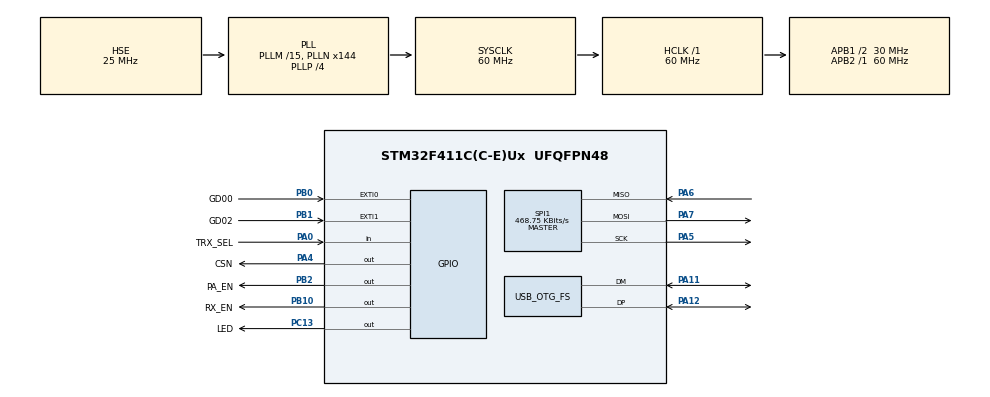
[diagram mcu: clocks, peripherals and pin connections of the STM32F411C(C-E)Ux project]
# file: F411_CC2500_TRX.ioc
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Dma.Request0=SPI1_RX
Dma.Request1=SPI1_TX
Dma.SPI1_RX.0.Direction=DMA_PERIPH_TO_MEMORY
Dma.SPI1_RX.0.FIFOMode=DMA_FIFOMODE_DISABLE
Dma.SPI1_RX.0.Instance=DMA2_Stream0
Dma.SPI1_RX.0.MemDataAlignment=DMA_MDATAALIGN_BYTE
Dma.SPI1_RX.0.MemInc=DMA_MINC_ENABLE
Dma.SPI1_RX.0.Mode=DMA_NORMAL
Dma.SPI1_RX.0.PeriphDataAlignment=DMA_PDATAALIGN_BYTE
Dma.SPI1_RX.0.PeriphInc=DMA_PINC_DISABLE
Dma.SPI1_RX.0.Priority=DMA_PRIORITY_LOW
Dma.SPI1_TX.1.Direction=DMA_MEMORY_TO_PERIPH
Dma.SPI1_TX.1.FIFOMode=DMA_FIFOMODE_DISABLE
Dma.SPI1_TX.1.Instance=DMA2_Stream2
Dma.SPI1_TX.1.MemDataAlignment=DMA_MDATAALIGN_BYTE
Dma.SPI1_TX.1.MemInc=DMA_MINC_ENABLE
Dma.SPI1_TX.1.Mode=DMA_NORMAL
Dma.SPI1_TX.1.PeriphDataAlignment=DMA_PDATAALIGN_BYTE
Dma.SPI1_TX.1.PeriphInc=DMA_PINC_DISABLE
Dma.SPI1_TX.1.Priority=DMA_PRIORITY_LOW
Mcu.Family=STM32F4
Mcu.Name=STM32F411C(C-E)Ux
Mcu.Package=UFQFPN48
NVIC.DMA2_Stream0_IRQn=true\:0\:0\:false\:false\:true\:false\:true\:true
NVIC.DMA2_Stream2_IRQn=true\:0\:0\:false\:false\:true\:false\:true\:true
NVIC.OTG_FS_IRQn=true\:0\:0\:false\:false\:true\:false\:true\:true
NVIC.PriorityGroup=NVIC_PRIORITYGROUP_4
NVIC.SPI1_IRQn=true\:0\:0\:false\:false\:true\:true\:true\:true
PA0-WKUP.GPIO_Label=TRX_SEL
PA0-WKUP.Signal=GPIO_Input
PA11.Mode=Device_Only
PA11.Signal=USB_OTG_FS_DM
PA12.Mode=Device_Only
PA12.Signal=USB_OTG_FS_DP
PA4.GPIO_Label=CSN
PA4.GPIO_Speed=GPIO_SPEED_FREQ_HIGH
PA4.PinState=GPIO_PIN_SET
PA4.Signal=GPIO_Output
PA5.Mode=Full_Duplex_Master
PA5.Signal=SPI1_SCK
PA6.Mode=Full_Duplex_Master
PA6.Signal=SPI1_MISO
PA7.Mode=Full_Duplex_Master
PA7.Signal=SPI1_MOSI
PB0.GPIO_Label=GD00
PB0.GPIO_ModeDefaultEXTI=GPIO_MODE_IT_RISING_FALLING
PB0.Signal=GPXTI0
PB1.GPIO_Label=GD02
PB1.GPIO_ModeDefaultEXTI=GPIO_MODE_IT_RISING_FALLING
PB1.Signal=GPXTI1
PB10.GPIO_Label=RX_EN
PB10.GPIO_Speed=GPIO_SPEED_FREQ_HIGH
PB10.Signal=GPIO_Output
PB2.GPIO_Label=PA_EN
PB2.GPIO_Speed=GPIO_SPEED_FREQ_HIGH
PB2.Signal=GPIO_Output
PC13-ANTI_TAMP.GPIO_Label=LED
PC13-ANTI_TAMP.Signal=GPIO_Output
PH0\ -\ OSC_IN.Mode=HSE-External-Oscillator
PH0\ -\ OSC_IN.Signal=RCC_OSC_IN
PH1\ -\ OSC_OUT.Mode=HSE-External-Oscillator
PH1\ -\ OSC_OUT.Signal=RCC_OSC_OUT
ProjectManager.HeapSize=0x200
ProjectManager.StackSize=0x400
ProjectManager.TargetToolchain=Makefile
RCC.48MHZClocksFreq_Value=48000000
RCC.AHBFreq_Value=60000000
RCC.APB1CLKDivider=RCC_HCLK_DIV2
RCC.APB1Freq_Value=30000000
RCC.APB1TimFreq_Value=60000000
RCC.APB2Freq_Value=60000000
RCC.APB2TimFreq_Value=60000000
RCC.CortexFreq_Value=60000000
RCC.HCLKFreq_Value=60000000
RCC.HSE_VALUE=25000000
RCC.HSI_VALUE=16000000
RCC.LSE_VALUE=32768
RCC.PLLM=15
RCC.PLLN=144
RCC.PLLP=RCC_PLLP_DIV4
RCC.PLLQ=5
RCC.SYSCLKFreq_VALUE=60000000
RCC.SYSCLKSource=RCC_SYSCLKSOURCE_PLLCLK
RCC.VCOOutputFreq_Value=240000000
SPI1.BaudRatePrescaler=SPI_BAUDRATEPRESCALER_128
SPI1.CalculateBaudRate=468.75 KBits/s
SPI1.Direction=SPI_DIRECTION_2LINES
SPI1.Mode=SPI_MODE_MASTER
SPI1.VirtualType=VM_MASTER
USB_DEVICE.CLASS_NAME_FS=CDC
USB_DEVICE.VirtualMode=Cdc
USB_DEVICE.VirtualModeFS=Cdc_FS
USB_OTG_FS.VirtualMode=Device_Only
VP_USB_DEVICE_VS_USB_DEVICE_CDC_FS.Mode=CDC_FS
board=custom

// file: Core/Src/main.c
/* USER CODE BEGIN Header */
/**
  ******************************************************************************
  * @file           : main.c
  * @brief          : Main program body
  ******************************************************************************
  * @attention
  *
  * Copyright (c) 2025 STMicroelectronics.
  * All rights reserved.
  *
  * This software is licensed under terms that can be found in the LICENSE file
  * in the root directory of this software component.
  * If no LICENSE file comes with this software, it is provided AS-IS.
  *
  ******************************************************************************
  */
/* USER CODE END Header */
#include "main.h"
#include "usb_device.h"

/* USER CODE BEGIN Includes */
#include "cc2500.h"
#include "usbd_cdc_if.h"
#include "cli_handler.h"
#include "radio_handler.h"
#include <string.h>
/* USER CODE END Includes */

SPI_HandleTypeDef hspi1;
DMA_HandleTypeDef hdma_spi1_rx;
DMA_HandleTypeDef hdma_spi1_tx;

/* USER CODE BEGIN PV */
CC2500CTX cc2500_ctx;
/* USER CODE END PV */

void SystemClock_Config(void);
static void MX_GPIO_Init(void);
static void MX_DMA_Init(void);
static void MX_SPI1_Init(void);

/* USER CODE BEGIN 0 */

// USB CDC callback
void CDC_On_Receive_FS(uint8_t* Buf, uint32_t Len)
{
    cli_process_input(Buf, Len);
}

// GPIO EXTI callback (вызывается HAL при прерывании)
void HAL_GPIO_EXTI_Callback(uint16_t GPIO_Pin)
{
    radio_gdo_irq_handler(GPIO_Pin);
}

/* USER CODE END 0 */

int main(void)
{

  /* MCU Configuration--------------------------------------------------------*/
  HAL_Init();

  /* Configure the system clock */
  SystemClock_Config();

  /* Initialize all configured peripherals */
  MX_GPIO_Init();
  MX_DMA_Init();
  MX_SPI1_Init();
  MX_USB_DEVICE_Init();

  /* USER CODE BEGIN 2 */

  // Определение режима работы через пин TRX_SEL (PA0)
  RadioMode_t radio_mode = (HAL_GPIO_ReadPin(TRX_SEL_GPIO_Port, TRX_SEL_Pin) == GPIO_PIN_SET)
                           ? RADIO_MODE_TX : RADIO_MODE_RX;

  // Инициализация CLI
  cli_init(&cc2500_ctx);

  // Инициализация CC2500
  cc2500_init_full(&cc2500_ctx,
                   CSN_GPIO_Port, CSN_Pin,
                   GD00_GPIO_Port, GD00_Pin,
                   GD02_GPIO_Port, GD02_Pin,
                   PA_EN_GPIO_Port, PA_EN_Pin,
                   RX_EN_GPIO_Port, RX_EN_Pin,
                   &hspi1);

  cc2500_reset(&cc2500_ctx);
  HAL_Delay(100);

  cc2500_configure(&cc2500_ctx);
  HAL_Delay(10);

  cc2500_writeRegister(&cc2500_ctx, CC2500_3E_PATABLE, 0x50);

  // Ожидание USB
  HAL_Delay(500);

  // Инициализация радио модуля
  radio_init(&cc2500_ctx, radio_mode);

  /* USER CODE END 2 */

  /* Infinite loop */
  while (1)
  {

    /* USER CODE BEGIN 3 */
    radio_process();

    // Небольшая задержка в режиме RX для снижения нагрузки CPU
    if (radio_get_mode() == RADIO_MODE_RX) {
        HAL_Delay(1);
    }
  }
  /* USER CODE END 3 */
}

void SystemClock_Config(void)
{
  RCC_OscInitTypeDef RCC_OscInitStruct = {0};
  RCC_ClkInitTypeDef RCC_ClkInitStruct = {0};

  /** Configure the main internal regulator output voltage
  */
  __HAL_RCC_PWR_CLK_ENABLE();
  __HAL_PWR_VOLTAGESCALING_CONFIG(PWR_REGULATOR_VOLTAGE_SCALE1);

  /** Initializes the RCC Oscillators according to the specified parameters
  * in the RCC_OscInitTypeDef structure.
  */
  RCC_OscInitStruct.OscillatorType = RCC_OSCILLATORTYPE_HSE;
  RCC_OscInitStruct.HSEState = RCC_HSE_ON;
  RCC_OscInitStruct.PLL.PLLState = RCC_PLL_ON;
  RCC_OscInitStruct.PLL.PLLSource = RCC_PLLSOURCE_HSE;
  RCC_OscInitStruct.PLL.PLLM = 15;
  RCC_OscInitStruct.PLL.PLLN = 144;
  RCC_OscInitStruct.PLL.PLLP = RCC_PLLP_DIV4;
  RCC_OscInitStruct.PLL.PLLQ = 5;
  if (HAL_RCC_OscConfig(&RCC_OscInitStruct) != HAL_OK)
  {
    Error_Handler();
  }

  /** Initializes the CPU, AHB and APB buses clocks
  */
  RCC_ClkInitStruct.ClockType = RCC_CLOCKTYPE_HCLK|RCC_CLOCKTYPE_SYSCLK
                              |RCC_CLOCKTYPE_PCLK1|RCC_CLOCKTYPE_PCLK2;
  RCC_ClkInitStruct.SYSCLKSource = RCC_SYSCLKSOURCE_PLLCLK;
  RCC_ClkInitStruct.AHBCLKDivider = RCC_SYSCLK_DIV1;
  RCC_ClkInitStruct.APB1CLKDivider = RCC_HCLK_DIV2;
  RCC_ClkInitStruct.APB2CLKDivider = RCC_HCLK_DIV1;

  if (HAL_RCC_ClockConfig(&RCC_ClkInitStruct, FLASH_LATENCY_1) != HAL_OK)
  {
    Error_Handler();
  }
}

static void MX_SPI1_Init(void)
{

  /* SPI1 parameter configuration*/
  hspi1.Instance = SPI1;
  hspi1.Init.Mode = SPI_MODE_MASTER;
  hspi1.Init.Direction = SPI_DIRECTION_2LINES;
  hspi1.Init.DataSize = SPI_DATASIZE_8BIT;
  hspi1.Init.CLKPolarity = SPI_POLARITY_LOW;
  hspi1.Init.CLKPhase = SPI_PHASE_1EDGE;
  hspi1.Init.NSS = SPI_NSS_SOFT;
  hspi1.Init.BaudRatePrescaler = SPI_BAUDRATEPRESCALER_8;
  hspi1.Init.FirstBit = SPI_FIRSTBIT_MSB;
  hspi1.Init.TIMode = SPI_TIMODE_DISABLE;
  hspi1.Init.CRCCalculation = SPI_CRCCALCULATION_DISABLE;
  hspi1.Init.CRCPolynomial = 10;
  if (HAL_SPI_Init(&hspi1) != HAL_OK)
  {
    Error_Handler();
  }

}

static void MX_DMA_Init(void)
{

  /* DMA controller clock enable */
  __HAL_RCC_DMA2_CLK_ENABLE();

  /* DMA interrupt init */
  /* DMA2_Stream0_IRQn interrupt configuration */
  HAL_NVIC_SetPriority(DMA2_Stream0_IRQn, 0, 0);
  HAL_NVIC_EnableIRQ(DMA2_Stream0_IRQn);
  /* DMA2_Stream2_IRQn interrupt configuration */
  HAL_NVIC_SetPriority(DMA2_Stream2_IRQn, 0, 0);
  HAL_NVIC_EnableIRQ(DMA2_Stream2_IRQn);

}

static void MX_GPIO_Init(void)
{
  GPIO_InitTypeDef GPIO_InitStruct = {0};

  /* GPIO Ports Clock Enable */
  __HAL_RCC_GPIOC_CLK_ENABLE();
  __HAL_RCC_GPIOH_CLK_ENABLE();
  __HAL_RCC_GPIOA_CLK_ENABLE();
  __HAL_RCC_GPIOB_CLK_ENABLE();

  /*Configure GPIO pin Output Level */
  HAL_GPIO_WritePin(LED_GPIO_Port, LED_Pin, GPIO_PIN_RESET);

  /*Configure GPIO pin Output Level */
  HAL_GPIO_WritePin(CSN_GPIO_Port, CSN_Pin, GPIO_PIN_SET);

  /*Configure GPIO pin Output Level */
  HAL_GPIO_WritePin(GPIOB, PA_EN_Pin|RX_EN_Pin, GPIO_PIN_RESET);

  /*Configure GPIO pin : LED_Pin */
  GPIO_InitStruct.Pin = LED_Pin;
  GPIO_InitStruct.Mode = GPIO_MODE_OUTPUT_PP;
  GPIO_InitStruct.Pull = GPIO_NOPULL;
  GPIO_InitStruct.Speed = GPIO_SPEED_FREQ_LOW;
  HAL_GPIO_Init(LED_GPIO_Port, &GPIO_InitStruct);

  /*Configure GPIO pin : TRX_SEL_Pin */
  GPIO_InitStruct.Pin = TRX_SEL_Pin;
  GPIO_InitStruct.Mode = GPIO_MODE_INPUT;
  GPIO_InitStruct.Pull = GPIO_NOPULL;
  HAL_GPIO_Init(TRX_SEL_GPIO_Port, &GPIO_InitStruct);

  /*Configure GPIO pin : CSN_Pin */
  GPIO_InitStruct.Pin = CSN_Pin;
  GPIO_InitStruct.Mode = GPIO_MODE_OUTPUT_PP;
  GPIO_InitStruct.Pull = GPIO_NOPULL;
  GPIO_InitStruct.Speed = GPIO_SPEED_FREQ_VERY_HIGH;
  HAL_GPIO_Init(CSN_GPIO_Port, &GPIO_InitStruct);

  /*Configure GPIO pins : GD00_Pin GD02_Pin */
  GPIO_InitStruct.Pin = GD00_Pin|GD02_Pin;
  GPIO_InitStruct.Mode = GPIO_MODE_IT_FALLING;
  GPIO_InitStruct.Pull = GPIO_NOPULL;
  HAL_GPIO_Init(GPIOB, &GPIO_InitStruct);

  /*Configure GPIO pins : PA_EN_Pin RX_EN_Pin */
  GPIO_InitStruct.Pin = PA_EN_Pin|RX_EN_Pin;
  GPIO_InitStruct.Mode = GPIO_MODE_OUTPUT_PP;
  GPIO_InitStruct.Pull = GPIO_NOPULL;
  GPIO_InitStruct.Speed = GPIO_SPEED_FREQ_VERY_HIGH;
  HAL_GPIO_Init(GPIOB, &GPIO_InitStruct);

}

void Error_Handler(void)
{
  __disable_irq();
  while (1)
  {
  }
}
